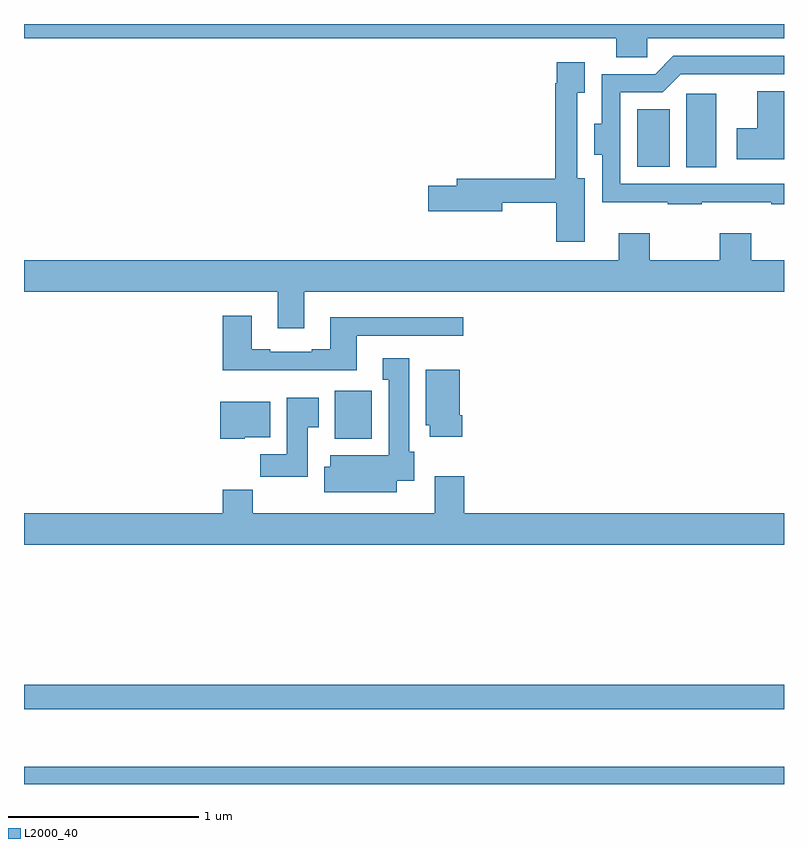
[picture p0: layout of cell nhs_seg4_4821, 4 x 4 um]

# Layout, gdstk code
import gdstk
lib = gdstk.Library(unit=1e-6, precision=1e-09)
def R(c, l, rs):  # rectangles x0, y0, x1, y1
    for r in rs: c.add(gdstk.rectangle(r[:2], r[2:], *l))
def P(c, l, *ps):  # polygons
    for p in ps: c.add(gdstk.Polygon(p, *l))
L2000_40 = (2000, 40)

nhs_seg4_4821 = lib.new_cell('nhs_seg4_4821')
R(nhs_seg4_4821, L2000_40, [(371,788.9,375,788.992), (371,789.294,375,789.422), (372.635,790.718,372.831,790.969), (374.486,792.145,374.644,792.532), (374.228,792.149,374.398,792.451)])
P(nhs_seg4_4821, L2000_40, [(374.28,792.824),(375,792.824),(375,792.9),(371,792.9),(371,792.824),(374.117,792.824),(374.117,792.726),(374.28,792.726)],
  [(374.567,791.963),(374.933,791.963),(374.933,791.952),(375,791.952),(375,792.06),(374.139,792.06),(374.139,792.54),(374.361,792.54),(374.457,792.636),(375,792.636),(375,792.732),(374.418,792.732),(374.322,792.636),(374.042,792.636),(374.042,792.376),(374,792.376),(374,792.212),(374.043,792.212),(374.043,791.963),(374.389,791.963),(374.389,791.952),(374.567,791.952)],
  [(373.951,792.088),(373.911,792.088),(373.911,792.539),(373.951,792.539),(373.951,792.7),(373.803,792.7),(373.803,792.587),(373.795,792.587),(373.795,792.086),(373.277,792.086),(373.277,792.05),(373.128,792.05),(373.128,791.915),(373.516,791.915),(373.516,791.958),(373.802,791.958),(373.802,791.754),(373.951,791.754)],
  [(375,792.547),(374.858,792.547),(374.858,792.352),(374.751,792.352),(374.751,792.188),(375,792.188)],
  [(371,791.492),(372.335,791.492),(372.335,791.298),(372.475,791.298),(372.475,791.492),(375,791.492),(375,791.656),(374.827,791.656),(374.827,791.8),(374.663,791.8),(374.663,791.656),(374.293,791.656),(374.293,791.8),(374.129,791.8),(374.129,791.656),(371,791.656)],
  [(372.751,791.259),(373.312,791.259),(373.312,791.356),(372.611,791.356),(372.611,791.188),(372.515,791.188),(372.515,791.175),(372.295,791.175),(372.295,791.188),(372.199,791.188),(372.199,791.365),(372.047,791.365),(372.047,791.078),(372.751,791.078)],
  [(372.961,790.496),(373.054,790.496),(373.054,790.65),(373.027,790.65),(373.027,791.14),(372.887,791.14),(372.887,791.027),(372.92,791.027),(372.92,790.63),(372.611,790.63),(372.611,790.571),(372.581,790.571),(372.581,790.436),(372.961,790.436)],
  [(373.307,790.84),(373.294,790.84),(373.294,791.08),(373.115,791.08),(373.115,790.788),(373.136,790.788),(373.136,790.728),(373.307,790.728)],
  [(372.493,790.777),(372.55,790.777),(372.55,790.933),(372.383,790.933),(372.383,790.636),(372.244,790.636),(372.244,790.518),(372.493,790.518)],
  [(372.162,790.724),(372.295,790.724),(372.295,790.912),(372.032,790.912),(372.032,790.718),(372.162,790.718)],
  [(375,790.324),(373.316,790.324),(373.316,790.519),(373.163,790.519),(373.163,790.324),(372.203,790.324),(372.203,790.448),(372.047,790.448),(372.047,790.324),(371,790.324),(371,790.16),(375,790.16)])

lib.write_gds('nhs_seg4_4821.gds')
